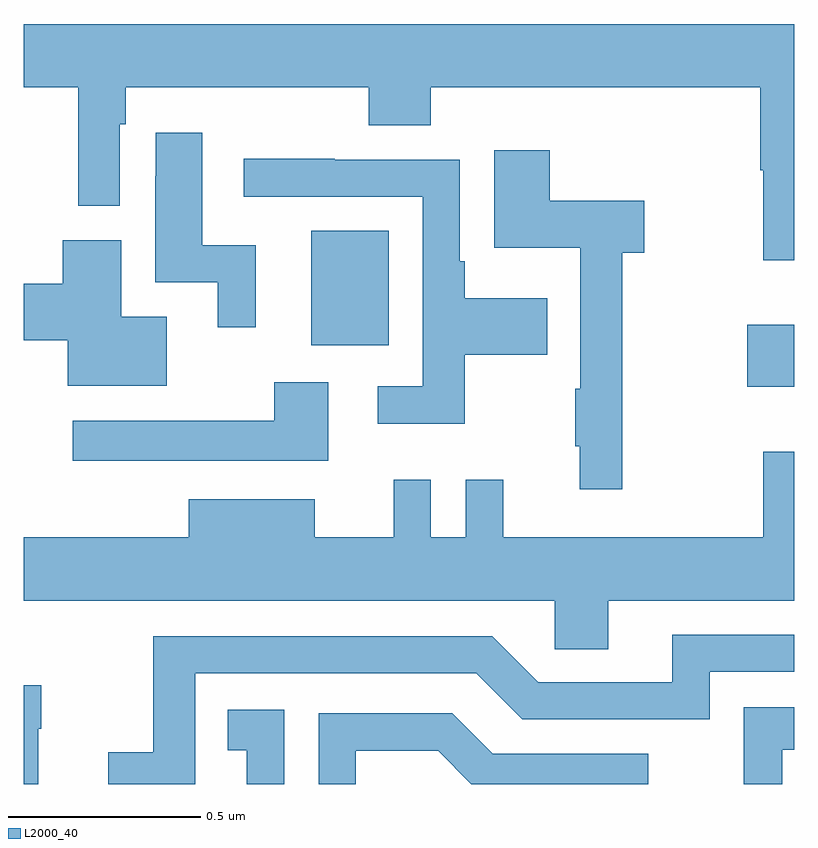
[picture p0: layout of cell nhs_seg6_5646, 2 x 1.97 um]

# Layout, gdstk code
import gdstk
lib = gdstk.Library(unit=1e-6, precision=1e-09)
def R(c, l, rs):  # rectangles x0, y0, x1, y1
    for r in rs: c.add(gdstk.rectangle(r[:2], r[2:], *l))
def P(c, l, *ps):  # polygons
    for p in ps: c.add(gdstk.Polygon(p, *l))
L2000_40 = (2000, 40)

nhs_seg6_5646 = lib.new_cell('nhs_seg6_5646')
R(nhs_seg6_5646, L2000_40, [(186.878,974.531,187,974.692), (185.747,974.639,185.947,974.935)])
P(nhs_seg6_5646, L2000_40, [(187,975.472),(185,975.472),(185,975.308),(185.142,975.308),(185.142,975),(185.25,975),(185.25,975.212),(185.265,975.212),(185.265,975.308),(185.896,975.308),(185.896,975.209),(186.056,975.209),(186.056,975.308),(186.912,975.308),(186.912,975.092),(186.919,975.092),(186.919,974.859),(187,974.859)],
  [(185.602,974.898),(185.464,974.898),(185.464,975.19),(185.343,975.19),(185.343,975.077),(185.342,975.077),(185.342,974.802),(185.504,974.802),(185.504,974.685),(185.602,974.685)],
  [(186.553,974.879),(186.61,974.879),(186.61,975.013),(186.365,975.013),(186.365,975.145),(186.221,975.145),(186.221,974.891),(186.444,974.891),(186.444,974.525),(186.432,974.525),(186.432,974.377),(186.443,974.377),(186.443,974.265),(186.553,974.265)],
  [(186.145,974.614),(186.359,974.614),(186.359,974.761),(186.145,974.761),(186.145,974.857),(186.132,974.857),(186.132,975.12),(185.807,975.12),(185.807,975.122),(185.571,975.122),(185.571,975.024),(186.036,975.024),(186.036,974.532),(185.919,974.532),(185.919,974.435),(186.145,974.435)],
  [(185.371,974.713),(185.254,974.713),(185.254,974.911),(185.102,974.911),(185.102,974.798),(185,974.798),(185,974.651),(185.114,974.651),(185.114,974.534),(185.371,974.534)],
  [(185.791,974.542),(185.651,974.542),(185.651,974.443),(185.127,974.443),(185.127,974.339),(185.791,974.339)],
  [(186.517,973.976),(187,973.976),(187,974.362),(186.919,974.362),(186.919,974.14),(186.245,974.14),(186.245,974.29),(186.147,974.29),(186.147,974.14),(186.057,974.14),(186.057,974.29),(185.96,974.29),(185.96,974.14),(185.755,974.14),(185.755,974.239),(185.429,974.239),(185.429,974.14),(185,974.14),(185,973.976),(186.378,973.976),(186.378,973.849),(186.517,973.849)],
  [(185.445,973.788),(186.174,973.788),(186.294,973.668),(186.78,973.668),(186.78,973.791),(187,973.791),(187,973.887),(186.683,973.887),(186.683,973.764),(186.336,973.764),(186.216,973.884),(185.337,973.884),(185.337,973.582),(185.219,973.582),(185.219,973.5),(185.445,973.5)],
  [(185.038,973.643),(185.046,973.643),(185.046,973.756),(185,973.756),(185,973.5),(185.038,973.5)],
  [(186.968,973.589),(187,973.589),(187,973.699),(186.868,973.699),(186.868,973.5),(186.968,973.5)],
  [(185.676,973.693),(185.53,973.693),(185.53,973.587),(185.579,973.587),(185.579,973.5),(185.676,973.5)],
  [(185.862,973.586),(186.076,973.586),(186.162,973.5),(186.621,973.5),(186.621,973.578),(186.217,973.578),(186.112,973.683),(185.766,973.683),(185.766,973.5),(185.862,973.5)])

lib.write_gds('nhs_seg6_5646.gds')
